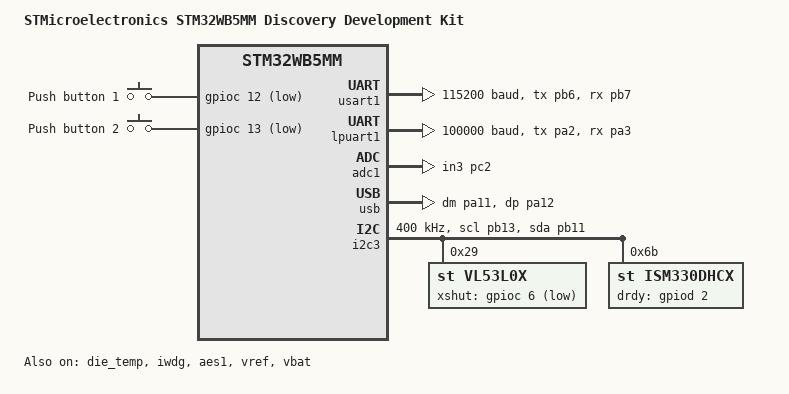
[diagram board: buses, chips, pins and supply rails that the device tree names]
/*
 * Copyright (c) 2024 Javad Rahimipetroudi <javad.rahimipetroudi@mind.be>
 *
 * SPDX-License-Identifier: Apache-2.0
 */

/dts-v1/;
#include <st/wb/stm32wb55Xg.dtsi>
#include <st/wb/stm32wb55vgyx-pinctrl.dtsi>
#include <zephyr/dt-bindings/input/input-event-codes.h>
#include <zephyr/dt-bindings/led/led.h>
#include <zephyr/dt-bindings/sensor/ism330dhcx.h>

/ {
	model = "STMicroelectronics STM32WB5MM Discovery Development Kit";
	compatible = "st,stm32wb5mm-dk";

	chosen {
		zephyr,console = &usart1;
		zephyr,shell-uart = &usart1;
		zephyr,bt-mon-uart = &lpuart1;
		zephyr,bt-c2h-uart = &lpuart1;
		zephyr,sram = &sram0;
		zephyr,flash = &flash0;
		zephyr,code-partition = &slot0_partition;
	};

	rgb_led_strip: rgb_strip {
		compatible = "ti,tlc59731";
		gpios = <&gpioa 7 (GPIO_PULL_DOWN | GPIO_ACTIVE_HIGH)>;
		chain-length = <1>;
		color-mapping = <LED_COLOR_ID_BLUE
				LED_COLOR_ID_GREEN
				LED_COLOR_ID_RED>;
		status = "disabled";
	};

	buttons {
		compatible = "gpio-keys";
		button0: button_0 {
			gpios = <&gpioc 12 (GPIO_PULL_UP | GPIO_ACTIVE_LOW)>;
			label = "Push button 1";
			zephyr,code = <INPUT_KEY_0>;
		};
		button1: button_1 {
			gpios = <&gpioc 13 (GPIO_PULL_UP | GPIO_ACTIVE_LOW)>;
			label = "Push button 2";
			zephyr,code = <INPUT_KEY_1>;
		};
	};

	aliases {
		watchdog0 = &iwdg;
		die-temp0 = &die_temp;
		volt-sensor0 = &vref;
		volt-sensor1 = &vbat;
		led-strip = &rgb_led_strip;
		sw0 = &button0;
		sw1 = &button1;
		accel0 = &ism330dhcx;
	};
};

&die_temp {
	status = "okay";
};

&clk_hse {
	status = "okay";
};

&clk_lse {
	status = "okay";
};

&clk_hsi48 {
	status = "okay";
};

&clk48 {
	/* Node is disabled by default as default source is HSI48 */
	/* To select another clock, enable the node */
	clocks = <&rcc STM32_SRC_HSI48 CLK48_SEL(0)>;
};

&rcc {
	clocks = <&clk_hse>;
	clock-frequency = <DT_FREQ_M(32)>;
	cpu1-prescaler = <1>;
	cpu2-prescaler = <1>;
	ahb4-prescaler = <1>;
	apb1-prescaler = <1>;
	apb2-prescaler = <1>;
};

&usart1 {
	pinctrl-0 = <&usart1_tx_pb6 &usart1_rx_pb7>;
	pinctrl-names = "default";
	current-speed = <115200>;
	status = "okay";
};


&lpuart1 {
	pinctrl-0 = <&lpuart1_tx_pa2 &lpuart1_rx_pa3>;
	pinctrl-names = "default";
	current-speed = <100000>;
	status = "okay";
};

&adc1 {
	pinctrl-0 = <&adc1_in3_pc2>;
	pinctrl-names = "default";
	st,adc-clock-source = "SYNC";
	st,adc-prescaler = <4>;
	status = "okay";
};

&iwdg {
	status = "okay";
};

zephyr_udc0: &usb {
	status = "okay";
	pinctrl-0 = <&usb_dm_pa11 &usb_dp_pa12>;
	pinctrl-names = "default";
};

&aes1 {
	status = "okay";
};

&flash0 {
	partitions {
		compatible = "fixed-partitions";
		#address-cells = <1>;
		#size-cells = <1>;

		/*
		 * Configure partitions while leaving space for M0 BLE f/w
		 * Since STM32WBCube release V1.13.2, only _HCIOnly_ f/w are supported.
		 * These FW are expected to be located not before 0x080DB000
		 * Current partition is using the first 876K of the flash for M4
		 */

		boot_partition: partition@0 {
			label = "mcuboot";
			reg = <0x00000000 DT_SIZE_K(48)>;
		};
		slot0_partition: partition@c000 {
			label = "image-0";
			reg = <0x0000c000 DT_SIZE_K(400)>;
		};
		slot1_partition: partition@70000 {
			label = "image-1";
			reg = <0x00070000 DT_SIZE_K(400)>;
		};
		scratch_partition: partition@d4000 {
			label = "image-scratch";
			reg = <0x000d4000 DT_SIZE_K(16)>;
		};
		storage_partition: partition@d8000 {
			label = "storage";
			reg = <0x000d8000 DT_SIZE_K(8)>;
		};

	};
};

&gpioh {
	rgb_cs: rgb_cs {
		gpios = <1 GPIO_ACTIVE_HIGH>;
		gpio-hog;
		output-high;
		status = "disabled";
	};
};

&i2c3 {
	pinctrl-0 = <&i2c3_scl_pb13 &i2c3_sda_pb11>;
	pinctrl-names = "default";
	status = "okay";
	clock-frequency = <I2C_BITRATE_FAST>;

	vl53l0x@29 {
		compatible = "st,vl53l0x";
		reg = <0x29>;
		xshut-gpios = <&gpioc 6 GPIO_ACTIVE_LOW>;
	};

	ism330dhcx: ism330dhcx@6b {
		compatible = "st,ism330dhcx";
		reg = <0x6b>;
		drdy-gpios = <&gpiod 2 GPIO_ACTIVE_HIGH>;
		accel-odr= <ISM330DHCX_DT_ODR_52Hz>;
		gyro-odr= <ISM330DHCX_DT_ODR_26H>;
	};
};

&vref {
	status = "okay";
};

&vbat {
	status = "okay";
};
